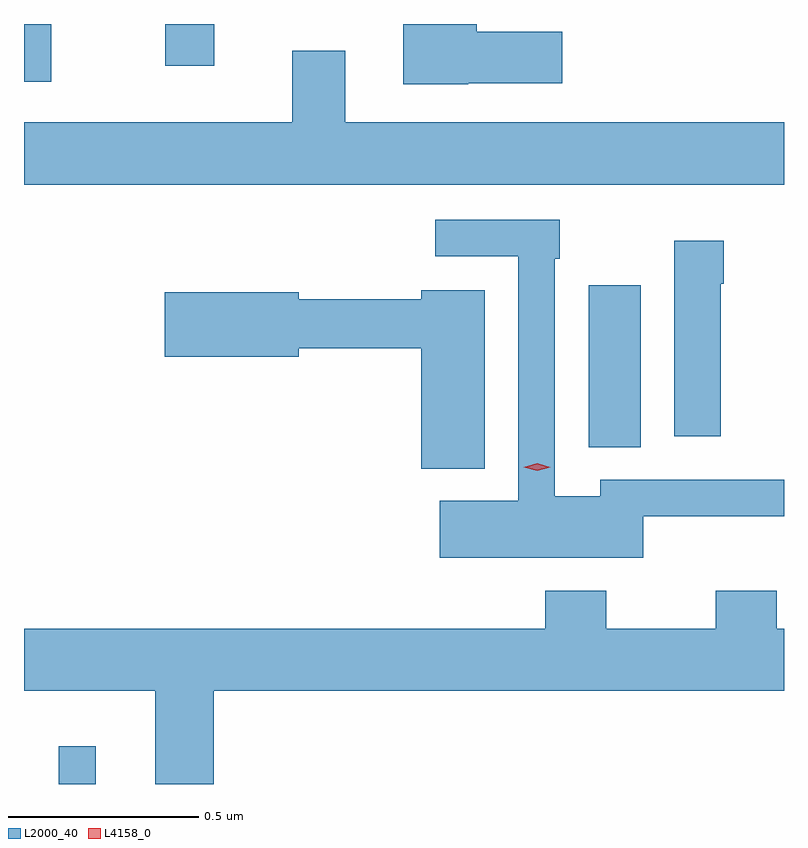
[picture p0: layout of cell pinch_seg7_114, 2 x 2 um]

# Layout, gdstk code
import gdstk
lib = gdstk.Library(unit=1e-6, precision=1e-09)
def R(c, l, rs):  # rectangles x0, y0, x1, y1
    for r in rs: c.add(gdstk.rectangle(r[:2], r[2:], *l))
def P(c, l, *ps):  # polygons
    for p in ps: c.add(gdstk.Polygon(p, *l))
L2000_40 = (2000, 40)
L4158_0 = (4158, 0)

pinch_seg7_114 = lib.new_cell('pinch_seg7_114')
R(pinch_seg7_114, L2000_40, [(922.76,1008.363,922.858,1008.463), (924.155,1009.249,924.292,1009.675), (922.669,1010.211,922.741,1010.363), (923.041,1010.253,923.17,1010.363)])
P(pinch_seg7_114, L2000_40, [(923.838,1010.207),(924.085,1010.207),(924.085,1010.342),(923.861,1010.342),(923.861,1010.363),(923.667,1010.363),(923.667,1010.204),(923.838,1010.204)],
  [(924.669,1010.104),(923.515,1010.104),(923.515,1010.292),(923.375,1010.292),(923.375,1010.104),(922.669,1010.104),(922.669,1009.94),(924.669,1009.94)],
  [(924.298,1009.067),(924.669,1009.067),(924.669,1009.164),(924.185,1009.164),(924.185,1009.12),(924.066,1009.12),(924.066,1009.745),(924.079,1009.745),(924.079,1009.848),(923.751,1009.848),(923.751,1009.752),(923.97,1009.752),(923.97,1009.108),(923.763,1009.108),(923.763,1008.959),(924.298,1008.959)],
  [(924.502,1009.679),(924.51,1009.679),(924.51,1009.792),(924.38,1009.792),(924.38,1009.278),(924.502,1009.278)],
  [(923.881,1009.663),(923.714,1009.663),(923.714,1009.639),(923.392,1009.639),(923.392,1009.657),(923.04,1009.657),(923.04,1009.487),(923.392,1009.487),(923.392,1009.51),(923.714,1009.51),(923.714,1009.193),(923.881,1009.193)],
  [(923.168,1008.608),(924.669,1008.608),(924.669,1008.772),(924.65,1008.772),(924.65,1008.871),(924.49,1008.871),(924.49,1008.772),(924.201,1008.772),(924.201,1008.871),(924.041,1008.871),(924.041,1008.772),(922.669,1008.772),(922.669,1008.608),(923.015,1008.608),(923.015,1008.363),(923.168,1008.363)])
P(pinch_seg7_114, L4158_0, [(924.019,1009.187),(923.984,1009.197),(923.984,1009.197),(923.984,1009.197),(924.019,1009.207),(924.054,1009.197),(924.054,1009.197),(924.054,1009.197)])

lib.write_gds('pinch_seg7_114.gds')
